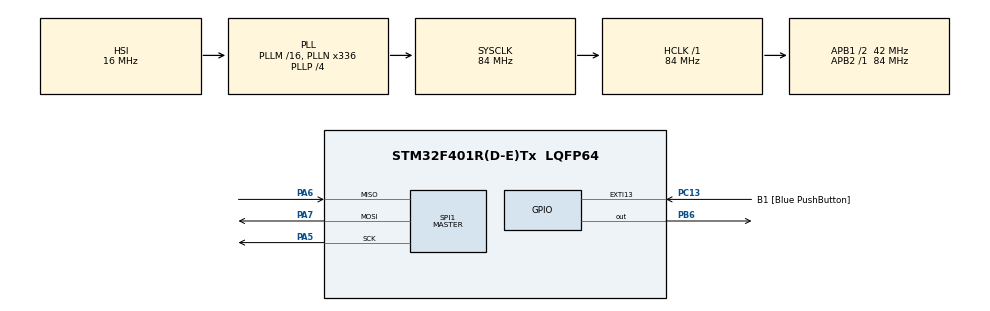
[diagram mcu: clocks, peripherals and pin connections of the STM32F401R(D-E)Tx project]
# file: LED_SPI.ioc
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Dma.Request0=SPI1_TX
Dma.SPI1_TX.0.Direction=DMA_MEMORY_TO_PERIPH
Dma.SPI1_TX.0.FIFOMode=DMA_FIFOMODE_DISABLE
Dma.SPI1_TX.0.Instance=DMA2_Stream3
Dma.SPI1_TX.0.MemDataAlignment=DMA_MDATAALIGN_BYTE
Dma.SPI1_TX.0.MemInc=DMA_MINC_ENABLE
Dma.SPI1_TX.0.Mode=DMA_NORMAL
Dma.SPI1_TX.0.PeriphDataAlignment=DMA_PDATAALIGN_BYTE
Dma.SPI1_TX.0.PeriphInc=DMA_PINC_DISABLE
Dma.SPI1_TX.0.Priority=DMA_PRIORITY_LOW
Mcu.Family=STM32F4
Mcu.Name=STM32F401R(D-E)Tx
Mcu.Package=LQFP64
NVIC.DMA2_Stream3_IRQn=true\:0\:0\:false\:false\:true\:false\:true\:true
NVIC.PriorityGroup=NVIC_PRIORITYGROUP_1
NVIC.SPI1_IRQn=true\:0\:0\:false\:false\:true\:true\:true\:true
NVIC.TIM2_IRQn=true\:0\:0\:true\:false\:true\:true\:true\:true
NVIC.TIM3_IRQn=true\:1\:0\:true\:false\:true\:true\:true\:true
PA13.GPIO_Label=TMS
PA13.Mode=Serial_Wire
PA13.Signal=SYS_JTMS-SWDIO
PA14.GPIO_Label=TCK
PA14.Mode=Serial_Wire
PA14.Signal=SYS_JTCK-SWCLK
PA5.Mode=Full_Duplex_Master
PA5.Signal=SPI1_SCK
PA6.Mode=Full_Duplex_Master
PA6.Signal=SPI1_MISO
PA7.Mode=Full_Duplex_Master
PA7.Signal=SPI1_MOSI
PB3.GPIO_Label=SWO
PB3.Signal=SYS_JTDO-SWO
PB6.Signal=GPIO_Output
PC13-ANTI_TAMP.GPIO_Label=B1 [Blue PushButton]
PC13-ANTI_TAMP.GPIO_ModeDefaultEXTI=GPIO_MODE_IT_FALLING
PC13-ANTI_TAMP.GPIO_PuPd=GPIO_NOPULL
PC13-ANTI_TAMP.Signal=GPXTI13
PC14-OSC32_IN.Mode=LSE-External-Oscillator
PC14-OSC32_IN.Signal=RCC_OSC32_IN
PC15-OSC32_OUT.Mode=LSE-External-Oscillator
PC15-OSC32_OUT.Signal=RCC_OSC32_OUT
PH0\ -\ OSC_IN.Mode=HSE-External-Clock-Source
PH0\ -\ OSC_IN.Signal=RCC_OSC_IN
PH1\ -\ OSC_OUT.Mode=HSE-External-Clock-Source
PH1\ -\ OSC_OUT.Signal=RCC_OSC_OUT
ProjectManager.HeapSize=0x200
ProjectManager.StackSize=0x400
ProjectManager.TargetToolchain=STM32CubeIDE
RCC.48MHZClocksFreq_Value=48000000
RCC.AHBFreq_Value=84000000
RCC.APB1CLKDivider=RCC_HCLK_DIV2
RCC.APB1Freq_Value=42000000
RCC.APB1TimFreq_Value=84000000
RCC.APB2Freq_Value=84000000
RCC.APB2TimFreq_Value=84000000
RCC.CortexFreq_Value=84000000
RCC.HCLKFreq_Value=84000000
RCC.HSE_VALUE=8000000
RCC.HSI_VALUE=16000000
RCC.PLLN=336
RCC.PLLP=RCC_PLLP_DIV4
RCC.PLLQ=7
RCC.SYSCLKFreq_VALUE=84000000
RCC.SYSCLKSource=RCC_SYSCLKSOURCE_PLLCLK
RCC.VCOOutputFreq_Value=336000000
SPI1.BaudRatePrescaler=SPI_BAUDRATEPRESCALER_4
SPI1.Direction=SPI_DIRECTION_2LINES
SPI1.Mode=SPI_MODE_MASTER
SPI1.VirtualType=VM_MASTER
TIM2.Period=(TEMPO2*10)-1
TIM2.Prescaler=8400-1
TIM3.Period=(TEMPO3*10)-1
TIM3.Prescaler=8400-1
VP_TIM2_VS_ClockSourceINT.Mode=Internal
VP_TIM3_VS_ClockSourceINT.Mode=Internal
board=NUCLEO-F401RE

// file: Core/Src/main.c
/* USER CODE BEGIN Header */
/**
  ******************************************************************************
  * @file           : main.c
  * @brief          : Main program body
  ******************************************************************************
  * @attention
  *
  * Copyright (c) 2024 STMicroelectronics.
  * All rights reserved.
  *
  * This software is licensed under terms that can be found in the LICENSE file
  * in the root directory of this software component.
  * If no LICENSE file comes with this software, it is provided AS-IS.
  *
  ******************************************************************************
  */
/* USER CODE END Header */
#include "main.h"

/* USER CODE BEGIN PD */
#define TEMPO2 4
#define TEMPO3 4000
/* USER CODE END PD */

SPI_HandleTypeDef hspi1;
DMA_HandleTypeDef hdma_spi1_tx;

TIM_HandleTypeDef htim2;
TIM_HandleTypeDef htim3;

void SystemClock_Config(void);
static void MX_GPIO_Init(void);
static void MX_DMA_Init(void);
static void MX_TIM2_Init(void);
static void MX_SPI1_Init(void);
static void MX_TIM3_Init(void);
/* USER CODE BEGIN PFP */
struct rowcolumn {
	uint8_t row;
	uint8_t column;
};

struct rowcolumn A_letter[5] = {
		{31, 16},
		{36, 8},
		{68, 4},
		{36, 2},
		{31, 1}
};

struct rowcolumn H_letter[5] = {
		{127, 16},
		{8, 8},
		{8, 4},
		{8, 2},
		{127, 1}
};

uint16_t Size = 2;
uint8_t i = 0;
uint8_t letter_flag = 1; // A if 0, H if 1
/* USER CODE END PFP */

/* USER CODE BEGIN 0 */
void HAL_TIM_PeriodElapsedCallback (TIM_HandleTypeDef *htim) {
	if (htim == &htim2) {
		HAL_GPIO_WritePin(GPIOB, GPIO_PIN_6, GPIO_PIN_RESET);
		if (i == 5) i = 0;
		if (letter_flag == 0) HAL_SPI_Transmit_DMA(&hspi1, &A_letter[i], Size);
		else HAL_SPI_Transmit_DMA(&hspi1, &H_letter[i], Size);
	} else if (htim == &htim3) {
		letter_flag = !letter_flag;
	}
}

void HAL_SPI_TxCpltCallback(SPI_HandleTypeDef * hspi) {
	HAL_GPIO_WritePin(GPIOB, GPIO_PIN_6, GPIO_PIN_SET);
	i++;
}
/* USER CODE END 0 */

int main(void)
{

  /* MCU Configuration--------------------------------------------------------*/

  /* Reset of all peripherals, Initializes the Flash interface and the Systick. */
  HAL_Init();

  /* Configure the system clock */
  SystemClock_Config();

  /* Initialize all configured peripherals */
  MX_GPIO_Init();
  MX_DMA_Init();
  MX_TIM2_Init();
  MX_SPI1_Init();
  MX_TIM3_Init();
  /* USER CODE BEGIN 2 */

  HAL_TIM_Base_Start_IT(&htim2);
  HAL_TIM_Base_Start_IT(&htim3);
  /* USER CODE END 2 */

  /* Infinite loop */
  while (1)
  {

  }
}

void SystemClock_Config(void)
{
  RCC_OscInitTypeDef RCC_OscInitStruct = {0};
  RCC_ClkInitTypeDef RCC_ClkInitStruct = {0};

  /** Configure the main internal regulator output voltage
  */
  __HAL_RCC_PWR_CLK_ENABLE();
  __HAL_PWR_VOLTAGESCALING_CONFIG(PWR_REGULATOR_VOLTAGE_SCALE2);

  /** Initializes the RCC Oscillators according to the specified parameters
  * in the RCC_OscInitTypeDef structure.
  */
  RCC_OscInitStruct.OscillatorType = RCC_OSCILLATORTYPE_HSI;
  RCC_OscInitStruct.HSIState = RCC_HSI_ON;
  RCC_OscInitStruct.HSICalibrationValue = RCC_HSICALIBRATION_DEFAULT;
  RCC_OscInitStruct.PLL.PLLState = RCC_PLL_ON;
  RCC_OscInitStruct.PLL.PLLSource = RCC_PLLSOURCE_HSI;
  RCC_OscInitStruct.PLL.PLLM = 16;
  RCC_OscInitStruct.PLL.PLLN = 336;
  RCC_OscInitStruct.PLL.PLLP = RCC_PLLP_DIV4;
  RCC_OscInitStruct.PLL.PLLQ = 7;
  if (HAL_RCC_OscConfig(&RCC_OscInitStruct) != HAL_OK)
  {
    Error_Handler();
  }

  /** Initializes the CPU, AHB and APB buses clocks
  */
  RCC_ClkInitStruct.ClockType = RCC_CLOCKTYPE_HCLK|RCC_CLOCKTYPE_SYSCLK
                              |RCC_CLOCKTYPE_PCLK1|RCC_CLOCKTYPE_PCLK2;
  RCC_ClkInitStruct.SYSCLKSource = RCC_SYSCLKSOURCE_PLLCLK;
  RCC_ClkInitStruct.AHBCLKDivider = RCC_SYSCLK_DIV1;
  RCC_ClkInitStruct.APB1CLKDivider = RCC_HCLK_DIV2;
  RCC_ClkInitStruct.APB2CLKDivider = RCC_HCLK_DIV1;

  if (HAL_RCC_ClockConfig(&RCC_ClkInitStruct, FLASH_LATENCY_2) != HAL_OK)
  {
    Error_Handler();
  }
}

static void MX_SPI1_Init(void)
{

  /* SPI1 parameter configuration*/
  hspi1.Instance = SPI1;
  hspi1.Init.Mode = SPI_MODE_MASTER;
  hspi1.Init.Direction = SPI_DIRECTION_2LINES;
  hspi1.Init.DataSize = SPI_DATASIZE_8BIT;
  hspi1.Init.CLKPolarity = SPI_POLARITY_LOW;
  hspi1.Init.CLKPhase = SPI_PHASE_1EDGE;
  hspi1.Init.NSS = SPI_NSS_SOFT;
  hspi1.Init.BaudRatePrescaler = SPI_BAUDRATEPRESCALER_4;
  hspi1.Init.FirstBit = SPI_FIRSTBIT_MSB;
  hspi1.Init.TIMode = SPI_TIMODE_DISABLE;
  hspi1.Init.CRCCalculation = SPI_CRCCALCULATION_DISABLE;
  hspi1.Init.CRCPolynomial = 10;
  if (HAL_SPI_Init(&hspi1) != HAL_OK)
  {
    Error_Handler();
  }

}

static void MX_TIM2_Init(void)
{

  TIM_ClockConfigTypeDef sClockSourceConfig = {0};
  TIM_MasterConfigTypeDef sMasterConfig = {0};

  htim2.Instance = TIM2;
  htim2.Init.Prescaler = 8400-1;
  htim2.Init.CounterMode = TIM_COUNTERMODE_UP;
  htim2.Init.Period = (TEMPO2*10)-1;
  htim2.Init.ClockDivision = TIM_CLOCKDIVISION_DIV1;
  htim2.Init.AutoReloadPreload = TIM_AUTORELOAD_PRELOAD_DISABLE;
  if (HAL_TIM_Base_Init(&htim2) != HAL_OK)
  {
    Error_Handler();
  }
  sClockSourceConfig.ClockSource = TIM_CLOCKSOURCE_INTERNAL;
  if (HAL_TIM_ConfigClockSource(&htim2, &sClockSourceConfig) != HAL_OK)
  {
    Error_Handler();
  }
  sMasterConfig.MasterOutputTrigger = TIM_TRGO_RESET;
  sMasterConfig.MasterSlaveMode = TIM_MASTERSLAVEMODE_DISABLE;
  if (HAL_TIMEx_MasterConfigSynchronization(&htim2, &sMasterConfig) != HAL_OK)
  {
    Error_Handler();
  }

}

static void MX_TIM3_Init(void)
{

  TIM_ClockConfigTypeDef sClockSourceConfig = {0};
  TIM_MasterConfigTypeDef sMasterConfig = {0};

  htim3.Instance = TIM3;
  htim3.Init.Prescaler = 8400-1;
  htim3.Init.CounterMode = TIM_COUNTERMODE_UP;
  htim3.Init.Period = (TEMPO3*10)-1;
  htim3.Init.ClockDivision = TIM_CLOCKDIVISION_DIV1;
  htim3.Init.AutoReloadPreload = TIM_AUTORELOAD_PRELOAD_DISABLE;
  if (HAL_TIM_Base_Init(&htim3) != HAL_OK)
  {
    Error_Handler();
  }
  sClockSourceConfig.ClockSource = TIM_CLOCKSOURCE_INTERNAL;
  if (HAL_TIM_ConfigClockSource(&htim3, &sClockSourceConfig) != HAL_OK)
  {
    Error_Handler();
  }
  sMasterConfig.MasterOutputTrigger = TIM_TRGO_RESET;
  sMasterConfig.MasterSlaveMode = TIM_MASTERSLAVEMODE_DISABLE;
  if (HAL_TIMEx_MasterConfigSynchronization(&htim3, &sMasterConfig) != HAL_OK)
  {
    Error_Handler();
  }

}

static void MX_DMA_Init(void)
{

  /* DMA controller clock enable */
  __HAL_RCC_DMA2_CLK_ENABLE();

  /* DMA interrupt init */
  /* DMA2_Stream3_IRQn interrupt configuration */
  HAL_NVIC_SetPriority(DMA2_Stream3_IRQn, 0, 0);
  HAL_NVIC_EnableIRQ(DMA2_Stream3_IRQn);

}

static void MX_GPIO_Init(void)
{
  GPIO_InitTypeDef GPIO_InitStruct = {0};

  /* GPIO Ports Clock Enable */
  __HAL_RCC_GPIOC_CLK_ENABLE();
  __HAL_RCC_GPIOH_CLK_ENABLE();
  __HAL_RCC_GPIOA_CLK_ENABLE();
  __HAL_RCC_GPIOB_CLK_ENABLE();

  /*Configure GPIO pin Output Level */
  HAL_GPIO_WritePin(GPIOB, GPIO_PIN_6, GPIO_PIN_RESET);

  /*Configure GPIO pin : B1_Pin */
  GPIO_InitStruct.Pin = B1_Pin;
  GPIO_InitStruct.Mode = GPIO_MODE_IT_FALLING;
  GPIO_InitStruct.Pull = GPIO_NOPULL;
  HAL_GPIO_Init(B1_GPIO_Port, &GPIO_InitStruct);

  /*Configure GPIO pin : PB6 */
  GPIO_InitStruct.Pin = GPIO_PIN_6;
  GPIO_InitStruct.Mode = GPIO_MODE_OUTPUT_PP;
  GPIO_InitStruct.Pull = GPIO_NOPULL;
  GPIO_InitStruct.Speed = GPIO_SPEED_FREQ_LOW;
  HAL_GPIO_Init(GPIOB, &GPIO_InitStruct);

}

void Error_Handler(void)
{
  __disable_irq();
  while (1)
  {
  }
}
